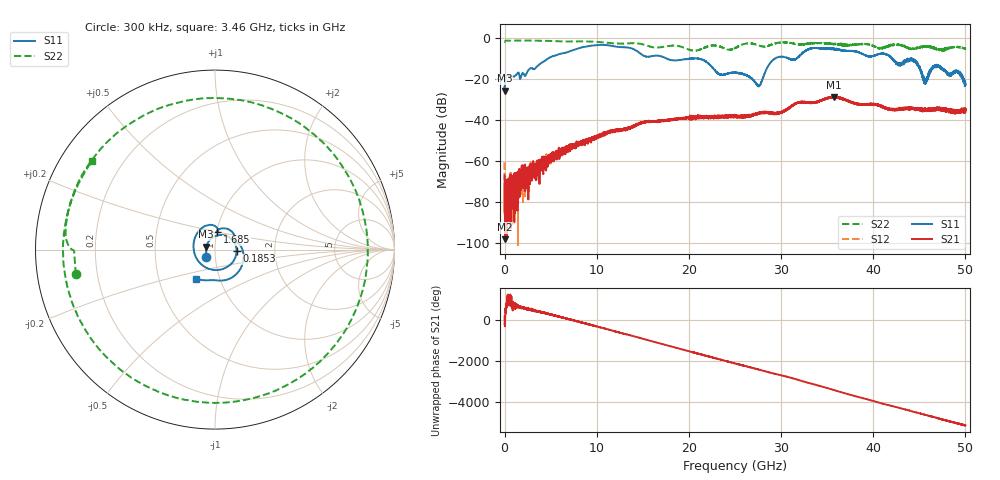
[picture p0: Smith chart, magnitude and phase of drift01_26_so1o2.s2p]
!Created with skrf (http://scikit-rf.org).
# Hz S RI R 50.0
!freq ReS11 ImS11 ReS21 ImS21 ReS12 ImS12 ReS22 ImS22
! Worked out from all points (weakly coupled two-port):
!   10001 points, 300 kHz to 50 GHz, reference 50 ohm
!   highest |S21| = -28.83 dB at 35.72 GHz (marker M1); lowest = -98.2 dB at 75.3 MHz (marker M2)
!   lowest |S11| = -25.8 dB at 5.3 MHz (marker M3), VSWR 1.11, Z = 45.3 + j1.42 ohm
!   |S11| at or under -10 dB: start of sweep to 4.765 GHz; 17.51 GHz to 29.41 GHz (11.91 GHz wide, 50.7 % of centre); 42.05 GHz to end of sweep (the widest 3 of 11)
!   |S22| runs from -6.6 to -1.4 dB; largest |S21 - S12| = 0.0034
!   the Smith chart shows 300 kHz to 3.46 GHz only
!   S11 on the Smith chart (normalised r, x): 300 kHz: 0.90, -0.07; 185.3 MHz: 1.27, -0.02; 1.685 GHz: 1.00, +0.20; 3.46 GHz: 0.77, -0.26
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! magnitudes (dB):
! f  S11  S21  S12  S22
! 300 kHz  -23.9  -67.1  -60.7  -2.1
! 5.3 MHz  -25.8  -76.0  -85.4  -2.1
! 75.3 MHz  -19.6  -98.2  -84.8  -1.5
! 185.3 MHz  -18.4  -77.5  -78.7  -1.4
! 1.685 GHz  -20.2  -67.2  -67.9  -1.4
! 3.46 GHz  -14.3  -63.4  -62.1  -1.5
! 8.335 GHz  -4.8  -50.9  -52.0  -1.8
! 16.67 GHz  -8.7  -40.7  -40.7  -4.8
! 21.16 GHz  -10.3  -38.6  -38.7  -5.9
! 23.36 GHz  -17.8  -38.7  -37.8  -4.3
! 25 GHz  -17.0  -37.6  -38.2  -5.1
! 27.58 GHz  -23.6  -37.2  -36.6  -3.8
! 29.28 GHz  -10.3  -36.7  -36.9  -2.9
! 31.45 GHz  -10.7  -32.4  -32.3  -3.0
! 33.34 GHz  -5.1  -31.8  -31.6  -2.7
! 35.72 GHz  -5.2  -28.8  -28.9  -3.0
! 41.67 GHz  -8.8  -34.5  -34.7  -4.3
! 42.74 GHz  -12.6  -35.0  -34.9  -3.4
! 44.41 GHz  -11.7  -34.7  -34.4  -5.4
! 45.63 GHz  -21.4  -35.0  -34.9  -4.3
! 46.97 GHz  -13.9  -34.2  -34.3  -5.8
! 50 GHz  -22.1  -34.7  -34.9  -5.4
